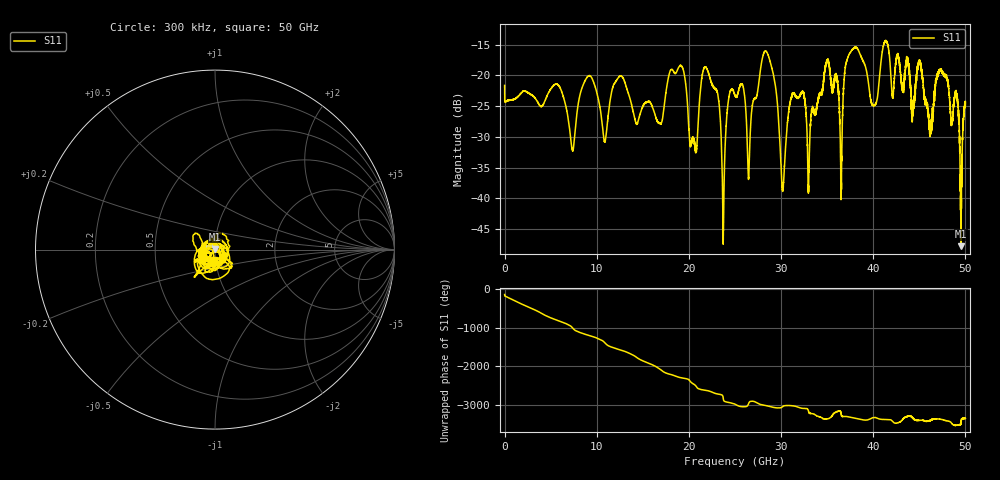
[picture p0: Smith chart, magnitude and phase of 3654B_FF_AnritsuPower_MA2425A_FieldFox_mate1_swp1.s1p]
!Created with skrf (http://scikit-rf.org).
# Hz S RI R 50.0
!freq ReS11 ImS11
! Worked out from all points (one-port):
!   10001 points, 300 kHz to 50 GHz, reference 50 ohm
!   lowest |S11| = -47.8 dB at 49.53 GHz (marker M1), VSWR 1.01, Z = 49.8 + j0.349 ohm
!   |S11| at or under -10 dB: start of sweep to end of sweep
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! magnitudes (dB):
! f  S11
! 300 kHz  -21.6
! 6.25 GHz  -22.9
! 7.385 GHz  -32.3
! 9.34 GHz  -20.2
! 10.88 GHz  -30.8
! 12.5 GHz  -20.2
! 16.83 GHz  -27.8
! 18.75 GHz  -19.2
! 20.66 GHz  -31.8
! 22.03 GHz  -19.2
! 23.17 GHz  -23.4
! 23.74 GHz  -45.2
! 25 GHz  -23.3
! 26.5 GHz  -36.3
! 28.49 GHz  -16.3
! 30.19 GHz  -38.6
! 31.25 GHz  -23.1
! 33 GHz  -37.5
! 35.05 GHz  -17.7
! 36.51 GHz  -37.6
! 37.5 GHz  -16.3
! 40.04 GHz  -24.9
! 41.29 GHz  -14.5
! 43.75 GHz  -17.2
! 46.2 GHz  -29.1
! 47.85 GHz  -20.1
! 49.53 GHz  -47.8
! 50 GHz  -24.4
